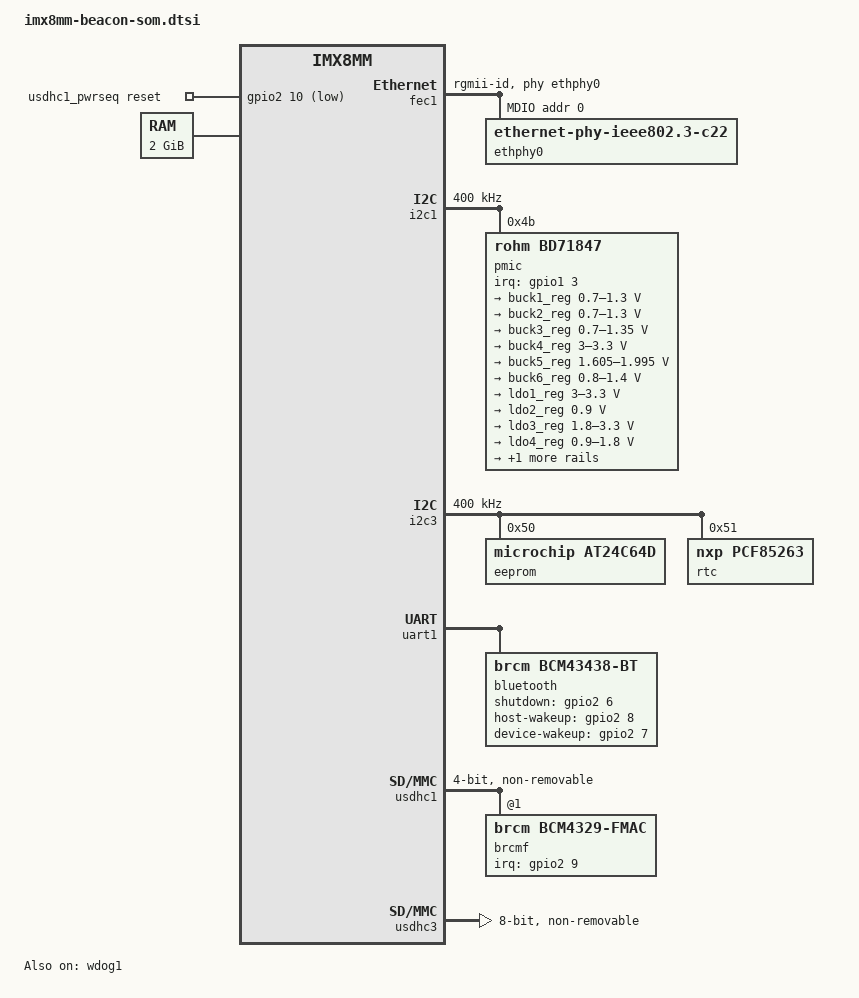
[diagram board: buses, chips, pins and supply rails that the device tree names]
// SPDX-License-Identifier: (GPL-2.0 OR MIT)
/*
 * Copyright 2020 Compass Electronics Group, LLC
 */

/ {
	usdhc1_pwrseq: usdhc1_pwrseq {
		compatible = "mmc-pwrseq-simple";
		pinctrl-names = "default";
		pinctrl-0 = <&pinctrl_usdhc1_gpio>;
		reset-gpios = <&gpio2 10 GPIO_ACTIVE_LOW>;
		clocks = <&osc_32k>;
		clock-names = "ext_clock";
		post-power-on-delay-ms = <80>;
	};

	memory@40000000 {
		device_type = "memory";
		reg = <0x0 0x40000000 0 0x80000000>;
	};
};

&A53_0 {
	cpu-supply = <&buck2_reg>;
};

&ddrc {
	operating-points-v2 = <&ddrc_opp_table>;

	ddrc_opp_table: opp-table {
		compatible = "operating-points-v2";

		opp-25M {
			opp-hz = /bits/ 64 <25000000>;
		};

		opp-100M {
			opp-hz = /bits/ 64 <100000000>;
		};

		opp-750M {
			opp-hz = /bits/ 64 <750000000>;
		};
	};
};

&fec1 {
	pinctrl-names = "default";
	pinctrl-0 = <&pinctrl_fec1>;
	phy-mode = "rgmii-id";
	phy-handle = <&ethphy0>;
	fsl,magic-packet;
	status = "okay";

	mdio {
		#address-cells = <1>;
		#size-cells = <0>;

		ethphy0: ethernet-phy@0 {
			compatible = "ethernet-phy-ieee802.3-c22";
			reg = <0>;
		};
	};
};

&i2c1 {
	clock-frequency = <400000>;
	pinctrl-names = "default";
	pinctrl-0 = <&pinctrl_i2c1>;
	status = "okay";

	pmic@4b {
		compatible = "rohm,bd71847";
		reg = <0x4b>;
		pinctrl-0 = <&pinctrl_pmic>;
		interrupt-parent = <&gpio1>;
		interrupts = <3 GPIO_ACTIVE_LOW>;
		rohm,reset-snvs-powered;

		regulators {
			buck1_reg: BUCK1 {
				regulator-name = "BUCK1";
				regulator-min-microvolt = <700000>;
				regulator-max-microvolt = <1300000>;
				regulator-boot-on;
				regulator-always-on;
				regulator-ramp-delay = <1250>;
			};

			buck2_reg: BUCK2 {
				regulator-name = "BUCK2";
				regulator-min-microvolt = <700000>;
				regulator-max-microvolt = <1300000>;
				regulator-boot-on;
				regulator-always-on;
				regulator-ramp-delay = <1250>;
				rohm,dvs-run-voltage = <1000000>;
				rohm,dvs-idle-voltage = <900000>;
			};

			buck3_reg: BUCK3 {
				// BUCK5 in datasheet
				regulator-name = "BUCK3";
				regulator-min-microvolt = <700000>;
				regulator-max-microvolt = <1350000>;
				regulator-boot-on;
				regulator-always-on;
			};

			buck4_reg: BUCK4 {
				// BUCK6 in datasheet
				regulator-name = "BUCK4";
				regulator-min-microvolt = <3000000>;
				regulator-max-microvolt = <3300000>;
				regulator-boot-on;
				regulator-always-on;
			};

			buck5_reg: BUCK5 {
				// BUCK7 in datasheet
				regulator-name = "BUCK5";
				regulator-min-microvolt = <1605000>;
				regulator-max-microvolt = <1995000>;
				regulator-boot-on;
				regulator-always-on;
			};

			buck6_reg: BUCK6 {
				// BUCK8 in datasheet
				regulator-name = "BUCK6";
				regulator-min-microvolt = <800000>;
				regulator-max-microvolt = <1400000>;
				regulator-boot-on;
				regulator-always-on;
			};

			ldo1_reg: LDO1 {
				regulator-name = "LDO1";
				regulator-min-microvolt = <3000000>;
				regulator-max-microvolt = <3300000>;
				regulator-boot-on;
				regulator-always-on;
			};

			ldo2_reg: LDO2 {
				regulator-name = "LDO2";
				regulator-min-microvolt = <900000>;
				regulator-max-microvolt = <900000>;
				regulator-boot-on;
				regulator-always-on;
			};

			ldo3_reg: LDO3 {
				regulator-name = "LDO3";
				regulator-min-microvolt = <1800000>;
				regulator-max-microvolt = <3300000>;
				regulator-boot-on;
				regulator-always-on;
			};

			ldo4_reg: LDO4 {
				regulator-name = "LDO4";
				regulator-min-microvolt = <900000>;
				regulator-max-microvolt = <1800000>;
				regulator-boot-on;
				regulator-always-on;
			};

			ldo6_reg: LDO6 {
				regulator-name = "LDO6";
				regulator-min-microvolt = <900000>;
				regulator-max-microvolt = <1800000>;
				regulator-boot-on;
				regulator-always-on;
			};
		};
	};
};

&i2c3 {
	clock-frequency = <400000>;
	pinctrl-names = "default";
	pinctrl-0 = <&pinctrl_i2c3>;
	status = "okay";

	eeprom@50 {
		compatible = "microchip, at24c64d", "atmel,24c64";
		pagesize = <32>;
		read-only;	/* Manufacturing EEPROM programmed at factory */
		reg = <0x50>;
	};

	rtc@51 {
		compatible = "nxp,pcf85263";
		reg = <0x51>;
	};
};

&uart1 {
	pinctrl-names = "default";
	pinctrl-0 = <&pinctrl_uart1>;
	assigned-clocks = <&clk IMX8MM_CLK_UART1>;
	assigned-clock-parents = <&clk IMX8MM_SYS_PLL1_80M>;
	uart-has-rtscts;
	status = "okay";

	bluetooth {
		compatible = "brcm,bcm43438-bt";
		shutdown-gpios = <&gpio2 6 GPIO_ACTIVE_HIGH>;
		host-wakeup-gpios = <&gpio2 8 GPIO_ACTIVE_HIGH>;
		device-wakeup-gpios = <&gpio2 7 GPIO_ACTIVE_HIGH>;
		clocks = <&osc_32k>;
		clock-names = "extclk";
	};
};

&usdhc1 {
	#address-cells = <1>;
	#size-cells = <0>;
	pinctrl-names = "default";
	pinctrl-0 = <&pinctrl_usdhc1>;
	bus-width = <4>;
	non-removable;
	cap-power-off-card;
	pm-ignore-notify;
	keep-power-in-suspend;
	mmc-pwrseq = <&usdhc1_pwrseq>;
	status = "okay";

	brcmf: bcrmf@1 {
		reg = <1>;
		compatible = "brcm,bcm4329-fmac";
		pinctrl-names = "default";
		pinctrl-0 = <&pinctrl_wlan>;
		interrupt-parent = <&gpio2>;
		interrupts = <9 IRQ_TYPE_LEVEL_HIGH>;
		interrupt-names = "host-wake";
	};
};

&usdhc3 {
	pinctrl-names = "default", "state_100mhz", "state_200mhz";
	pinctrl-0 = <&pinctrl_usdhc3>;
	pinctrl-1 = <&pinctrl_usdhc3_100mhz>;
	pinctrl-2 = <&pinctrl_usdhc3_200mhz>;
	bus-width = <8>;
	non-removable;
	status = "okay";
};

&wdog1 {
	pinctrl-names = "default";
	pinctrl-0 = <&pinctrl_wdog>;
	fsl,ext-reset-output;
	status = "okay";
};

&iomuxc {
		pinctrl_fec1: fec1grp {
			fsl,pins = <
				MX8MM_IOMUXC_ENET_MDC_ENET1_MDC		0x3
				MX8MM_IOMUXC_ENET_MDIO_ENET1_MDIO	0x3
				MX8MM_IOMUXC_ENET_TD3_ENET1_RGMII_TD3	0x1f
				MX8MM_IOMUXC_ENET_TD2_ENET1_RGMII_TD2	0x1f
				MX8MM_IOMUXC_ENET_TD1_ENET1_RGMII_TD1	0x1f
				MX8MM_IOMUXC_ENET_TD0_ENET1_RGMII_TD0	0x1f
				MX8MM_IOMUXC_ENET_RD3_ENET1_RGMII_RD3	0x91
				MX8MM_IOMUXC_ENET_RD2_ENET1_RGMII_RD2	0x91
				MX8MM_IOMUXC_ENET_RD1_ENET1_RGMII_RD1	0x91
				MX8MM_IOMUXC_ENET_RD0_ENET1_RGMII_RD0	0x91
				MX8MM_IOMUXC_ENET_TXC_ENET1_RGMII_TXC	0x1f
				MX8MM_IOMUXC_ENET_RXC_ENET1_RGMII_RXC	0x91
				MX8MM_IOMUXC_ENET_RX_CTL_ENET1_RGMII_RX_CTL	0x91
				MX8MM_IOMUXC_ENET_TX_CTL_ENET1_RGMII_TX_CTL	0x1f
				MX8MM_IOMUXC_SAI2_RXC_GPIO4_IO22	0x19
			>;
		};

		pinctrl_i2c1: i2c1grp {
			fsl,pins = <
				MX8MM_IOMUXC_I2C1_SCL_I2C1_SCL		0x400001c3
				MX8MM_IOMUXC_I2C1_SDA_I2C1_SDA		0x400001c3
			>;
		};

		pinctrl_i2c3: i2c3grp {
			fsl,pins = <
				MX8MM_IOMUXC_I2C3_SCL_I2C3_SCL		0x400001c3
				MX8MM_IOMUXC_I2C3_SDA_I2C3_SDA		0x400001c3
			>;
		};

		pinctrl_pmic: pmicirq {
			fsl,pins = <
				MX8MM_IOMUXC_GPIO1_IO03_GPIO1_IO3		0x41
			>;
		};

		pinctrl_uart1: uart1grp {
			fsl,pins = <
				MX8MM_IOMUXC_UART1_RXD_UART1_DCE_RX	0x140
				MX8MM_IOMUXC_UART1_TXD_UART1_DCE_TX	0x140
				MX8MM_IOMUXC_UART3_RXD_UART1_DCE_CTS_B	0x140
				MX8MM_IOMUXC_UART3_TXD_UART1_DCE_RTS_B	0x140
				MX8MM_IOMUXC_SD1_DATA4_GPIO2_IO6	0x19
				MX8MM_IOMUXC_SD1_DATA5_GPIO2_IO7	0x19
				MX8MM_IOMUXC_SD1_DATA6_GPIO2_IO8	0x19
				MX8MM_IOMUXC_GPIO1_IO00_ANAMIX_REF_CLK_32K	0x141
			>;
		};

		pinctrl_usdhc1_gpio: usdhc1grpgpio {
			fsl,pins = <
				MX8MM_IOMUXC_SD1_RESET_B_GPIO2_IO10	0x41
			>;
		};

		pinctrl_usdhc1: usdhc1grp {
			fsl,pins = <
				MX8MM_IOMUXC_SD1_CLK_USDHC1_CLK		0x190
				MX8MM_IOMUXC_SD1_CMD_USDHC1_CMD		0x1d0
				MX8MM_IOMUXC_SD1_DATA0_USDHC1_DATA0	0x1d0
				MX8MM_IOMUXC_SD1_DATA1_USDHC1_DATA1	0x1d0
				MX8MM_IOMUXC_SD1_DATA2_USDHC1_DATA2	0x1d0
				MX8MM_IOMUXC_SD1_DATA3_USDHC1_DATA3	0x1d0
			>;
		};

		pinctrl_usdhc1_100mhz: usdhc1grp100mhz {
			fsl,pins = <
				MX8MM_IOMUXC_SD1_CLK_USDHC1_CLK		0x194
				MX8MM_IOMUXC_SD1_CMD_USDHC1_CMD		0x1d4
				MX8MM_IOMUXC_SD1_DATA0_USDHC1_DATA0	0x1d4
				MX8MM_IOMUXC_SD1_DATA1_USDHC1_DATA1	0x1d4
				MX8MM_IOMUXC_SD1_DATA2_USDHC1_DATA2	0x1d4
				MX8MM_IOMUXC_SD1_DATA3_USDHC1_DATA3	0x1d4
			>;
		};

		pinctrl_usdhc1_200mhz: usdhc1grp200mhz {
			fsl,pins = <
				MX8MM_IOMUXC_SD1_CLK_USDHC1_CLK		0x196
				MX8MM_IOMUXC_SD1_CMD_USDHC1_CMD		0x1d6
				MX8MM_IOMUXC_SD1_DATA0_USDHC1_DATA0	0x1d6
				MX8MM_IOMUXC_SD1_DATA1_USDHC1_DATA1	0x1d6
				MX8MM_IOMUXC_SD1_DATA2_USDHC1_DATA2	0x1d6
				MX8MM_IOMUXC_SD1_DATA3_USDHC1_DATA3	0x1d6
			>;
		};

		pinctrl_usdhc3: usdhc3grp {
			fsl,pins = <
				MX8MM_IOMUXC_NAND_WE_B_USDHC3_CLK		0x190
				MX8MM_IOMUXC_NAND_WP_B_USDHC3_CMD		0x1d0
				MX8MM_IOMUXC_NAND_DATA04_USDHC3_DATA0		0x1d0
				MX8MM_IOMUXC_NAND_DATA05_USDHC3_DATA1		0x1d0
				MX8MM_IOMUXC_NAND_DATA06_USDHC3_DATA2		0x1d0
				MX8MM_IOMUXC_NAND_DATA07_USDHC3_DATA3		0x1d0
				MX8MM_IOMUXC_NAND_RE_B_USDHC3_DATA4		0x1d0
				MX8MM_IOMUXC_NAND_CE2_B_USDHC3_DATA5		0x1d0
				MX8MM_IOMUXC_NAND_CE3_B_USDHC3_DATA6		0x1d0
				MX8MM_IOMUXC_NAND_CLE_USDHC3_DATA7		0x1d0
				MX8MM_IOMUXC_NAND_CE1_B_USDHC3_STROBE		0x190
			>;
		};

		pinctrl_usdhc3_100mhz: usdhc3grp100mhz {
			fsl,pins = <
				MX8MM_IOMUXC_NAND_WE_B_USDHC3_CLK		0x194
				MX8MM_IOMUXC_NAND_WP_B_USDHC3_CMD		0x1d4
				MX8MM_IOMUXC_NAND_DATA04_USDHC3_DATA0		0x1d4
				MX8MM_IOMUXC_NAND_DATA05_USDHC3_DATA1		0x1d4
				MX8MM_IOMUXC_NAND_DATA06_USDHC3_DATA2		0x1d4
				MX8MM_IOMUXC_NAND_DATA07_USDHC3_DATA3		0x1d4
				MX8MM_IOMUXC_NAND_RE_B_USDHC3_DATA4		0x1d4
				MX8MM_IOMUXC_NAND_CE2_B_USDHC3_DATA5		0x1d4
				MX8MM_IOMUXC_NAND_CE3_B_USDHC3_DATA6		0x1d4
				MX8MM_IOMUXC_NAND_CLE_USDHC3_DATA7		0x1d4
				MX8MM_IOMUXC_NAND_CE1_B_USDHC3_STROBE		0x194
			>;
		};

		pinctrl_usdhc3_200mhz: usdhc3grp200mhz {
			fsl,pins = <
				MX8MM_IOMUXC_NAND_WE_B_USDHC3_CLK		0x196
				MX8MM_IOMUXC_NAND_WP_B_USDHC3_CMD		0x1d6
				MX8MM_IOMUXC_NAND_DATA04_USDHC3_DATA0		0x1d6
				MX8MM_IOMUXC_NAND_DATA05_USDHC3_DATA1		0x1d6
				MX8MM_IOMUXC_NAND_DATA06_USDHC3_DATA2		0x1d6
				MX8MM_IOMUXC_NAND_DATA07_USDHC3_DATA3		0x1d6
				MX8MM_IOMUXC_NAND_RE_B_USDHC3_DATA4		0x1d6
				MX8MM_IOMUXC_NAND_CE2_B_USDHC3_DATA5		0x1d6
				MX8MM_IOMUXC_NAND_CE3_B_USDHC3_DATA6		0x1d6
				MX8MM_IOMUXC_NAND_CLE_USDHC3_DATA7		0x1d6
				MX8MM_IOMUXC_NAND_CE1_B_USDHC3_STROBE		0x196
			>;
		};

		pinctrl_wdog: wdoggrp {
			fsl,pins = <
				MX8MM_IOMUXC_GPIO1_IO02_WDOG1_WDOG_B		0xc6
			>;
		};

		pinctrl_wlan: wlangrp {
			fsl,pins = <
				MX8MM_IOMUXC_SD1_DATA7_GPIO2_IO9		0x111
			>;
		};
};
